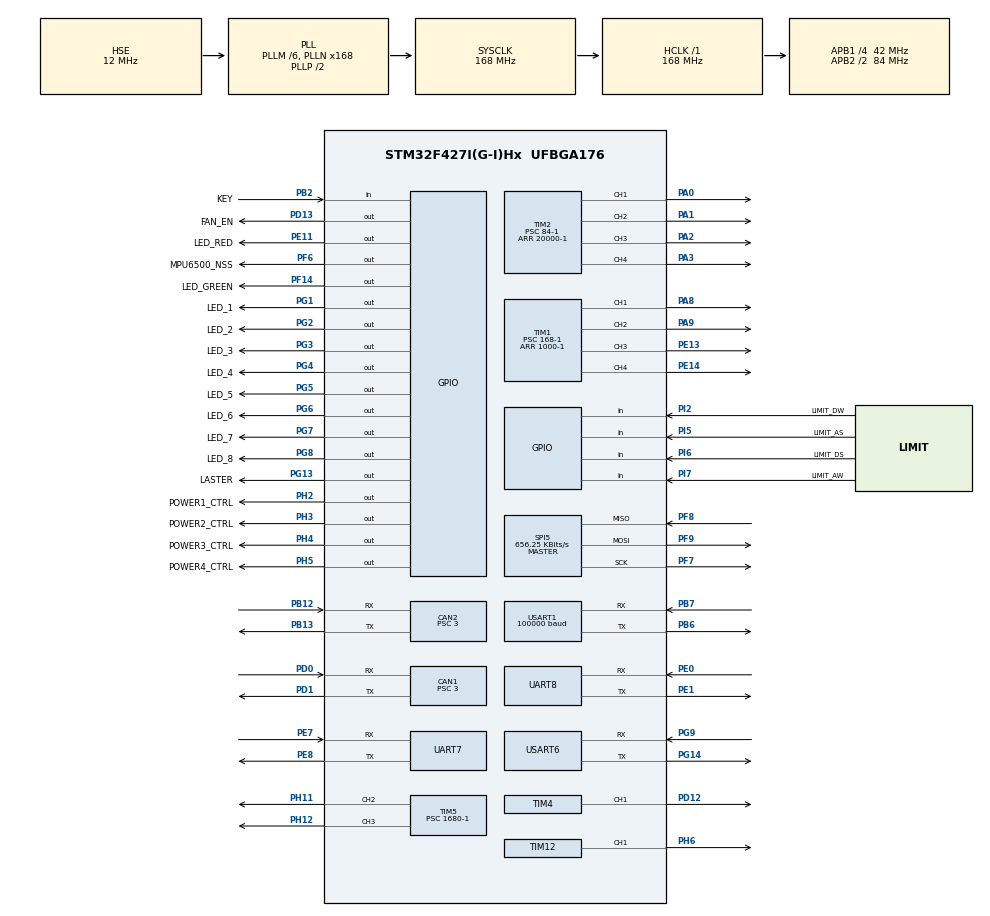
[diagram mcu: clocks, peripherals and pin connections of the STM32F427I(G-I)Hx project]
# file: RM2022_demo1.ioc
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CAN1.ABOM=ENABLE
CAN1.BS1=CAN_BS1_9TQ
CAN1.BS2=CAN_BS2_4TQ
CAN1.CalculateBaudRate=1000000
CAN1.CalculateTimeBit=999.99
CAN1.CalculateTimeQuantum=71.42857142857143
CAN1.Prescaler=3
CAN2.ABOM=ENABLE
CAN2.BS1=CAN_BS1_9TQ
CAN2.BS2=CAN_BS2_4TQ
CAN2.CalculateBaudRate=1000000
CAN2.CalculateTimeBit=999.99
CAN2.CalculateTimeQuantum=71.42857142857143
CAN2.Prescaler=3
Dma.Request0=USART1_RX
Dma.Request1=USART6_RX
Dma.Request2=USART6_TX
Dma.Request3=UART8_RX
Dma.Request4=UART8_TX
Dma.UART8_RX.3.Direction=DMA_PERIPH_TO_MEMORY
Dma.UART8_RX.3.FIFOMode=DMA_FIFOMODE_DISABLE
Dma.UART8_RX.3.Instance=DMA1_Stream6
Dma.UART8_RX.3.MemDataAlignment=DMA_MDATAALIGN_BYTE
Dma.UART8_RX.3.MemInc=DMA_MINC_ENABLE
Dma.UART8_RX.3.Mode=DMA_CIRCULAR
Dma.UART8_RX.3.PeriphDataAlignment=DMA_PDATAALIGN_BYTE
Dma.UART8_RX.3.PeriphInc=DMA_PINC_DISABLE
Dma.UART8_RX.3.Priority=DMA_PRIORITY_MEDIUM
Dma.UART8_TX.4.Direction=DMA_MEMORY_TO_PERIPH
Dma.UART8_TX.4.FIFOMode=DMA_FIFOMODE_DISABLE
Dma.UART8_TX.4.Instance=DMA1_Stream0
Dma.UART8_TX.4.MemDataAlignment=DMA_MDATAALIGN_BYTE
Dma.UART8_TX.4.MemInc=DMA_MINC_ENABLE
Dma.UART8_TX.4.Mode=DMA_NORMAL
Dma.UART8_TX.4.PeriphDataAlignment=DMA_PDATAALIGN_BYTE
Dma.UART8_TX.4.PeriphInc=DMA_PINC_DISABLE
Dma.UART8_TX.4.Priority=DMA_PRIORITY_LOW
Dma.USART1_RX.0.Direction=DMA_PERIPH_TO_MEMORY
Dma.USART1_RX.0.FIFOMode=DMA_FIFOMODE_DISABLE
Dma.USART1_RX.0.Instance=DMA2_Stream5
Dma.USART1_RX.0.MemDataAlignment=DMA_MDATAALIGN_BYTE
Dma.USART1_RX.0.MemInc=DMA_MINC_ENABLE
Dma.USART1_RX.0.Mode=DMA_CIRCULAR
Dma.USART1_RX.0.PeriphDataAlignment=DMA_PDATAALIGN_BYTE
Dma.USART1_RX.0.PeriphInc=DMA_PINC_DISABLE
Dma.USART1_RX.0.Priority=DMA_PRIORITY_VERY_HIGH
Dma.USART6_RX.1.Direction=DMA_PERIPH_TO_MEMORY
Dma.USART6_RX.1.FIFOMode=DMA_FIFOMODE_DISABLE
Dma.USART6_RX.1.Instance=DMA2_Stream1
Dma.USART6_RX.1.MemDataAlignment=DMA_MDATAALIGN_BYTE
Dma.USART6_RX.1.MemInc=DMA_MINC_ENABLE
Dma.USART6_RX.1.Mode=DMA_CIRCULAR
Dma.USART6_RX.1.PeriphDataAlignment=DMA_PDATAALIGN_BYTE
Dma.USART6_RX.1.PeriphInc=DMA_PINC_DISABLE
Dma.USART6_RX.1.Priority=DMA_PRIORITY_LOW
Dma.USART6_TX.2.Direction=DMA_MEMORY_TO_PERIPH
Dma.USART6_TX.2.FIFOMode=DMA_FIFOMODE_DISABLE
Dma.USART6_TX.2.Instance=DMA2_Stream6
Dma.USART6_TX.2.MemDataAlignment=DMA_MDATAALIGN_BYTE
Dma.USART6_TX.2.MemInc=DMA_MINC_ENABLE
Dma.USART6_TX.2.Mode=DMA_NORMAL
Dma.USART6_TX.2.PeriphDataAlignment=DMA_PDATAALIGN_BYTE
Dma.USART6_TX.2.PeriphInc=DMA_PINC_DISABLE
Dma.USART6_TX.2.Priority=DMA_PRIORITY_LOW
Mcu.Family=STM32F4
Mcu.Name=STM32F427I(G-I)Hx
Mcu.Package=UFBGA176
NVIC.CAN1_RX0_IRQn=true\:1\:0\:true\:false\:true\:true\:true
NVIC.CAN1_TX_IRQn=true\:2\:0\:true\:false\:true\:true\:true
NVIC.CAN2_RX0_IRQn=true\:1\:0\:true\:false\:true\:true\:true
NVIC.CAN2_TX_IRQn=true\:3\:0\:true\:false\:true\:true\:true
NVIC.DMA1_Stream0_IRQn=true\:0\:0\:false\:false\:true\:false\:true
NVIC.DMA1_Stream6_IRQn=true\:0\:0\:false\:false\:true\:false\:true
NVIC.DMA2_Stream1_IRQn=true\:0\:0\:false\:false\:true\:false\:true
NVIC.DMA2_Stream5_IRQn=true\:0\:0\:false\:false\:true\:false\:true
NVIC.DMA2_Stream6_IRQn=true\:0\:0\:false\:false\:true\:false\:true
NVIC.PriorityGroup=NVIC_PRIORITYGROUP_4
NVIC.UART7_IRQn=true\:7\:0\:true\:false\:true\:true\:true
NVIC.UART8_IRQn=true\:3\:0\:true\:false\:true\:true\:true
NVIC.USART1_IRQn=true\:0\:0\:false\:false\:true\:true\:true
NVIC.USART6_IRQn=true\:12\:0\:true\:false\:true\:true\:true
PA0/WKUP.Signal=S_TIM2_CH1_ETR
PA1.Signal=S_TIM2_CH2
PA13.Mode=Serial_Wire
PA13.Signal=SYS_JTMS-SWDIO
PA14.Mode=Serial_Wire
PA14.Signal=SYS_JTCK-SWCLK
PA2.Signal=S_TIM2_CH3
PA3.Signal=S_TIM2_CH4
PA8.Signal=S_TIM1_CH1
PA9.Signal=S_TIM1_CH2
PB12.Mode=CAN_Activate
PB12.Signal=CAN2_RX
PB13.Mode=CAN_Activate
PB13.Signal=CAN2_TX
PB2/BOOT1.GPIO_Label=KEY
PB2/BOOT1.GPIO_PuPd=GPIO_PULLDOWN
PB2/BOOT1.Signal=GPIO_Input
PB6.Mode=Asynchronous
PB6.Signal=USART1_TX
PB7.Mode=Asynchronous
PB7.Signal=USART1_RX
PD0.Mode=CAN_Activate
PD0.Signal=CAN1_RX
PD1.Mode=CAN_Activate
PD1.Signal=CAN1_TX
PD12.Signal=S_TIM4_CH1
PD13.GPIO_Label=FAN_EN
PD13.Signal=GPIO_Output
PE0.Mode=Asynchronous
PE0.Signal=UART8_RX
PE1.Mode=Asynchronous
PE1.Signal=UART8_TX
PE11.GPIO_Label=LED_RED
PE11.GPIO_Speed=GPIO_SPEED_FREQ_LOW
PE11.PinState=GPIO_PIN_SET
PE11.Signal=GPIO_Output
PE13.Signal=S_TIM1_CH3
PE14.Signal=S_TIM1_CH4
PE7.Mode=Asynchronous
PE7.Signal=UART7_RX
PE8.Mode=Asynchronous
PE8.Signal=UART7_TX
PF14.GPIO_Label=LED_GREEN
PF14.PinState=GPIO_PIN_SET
PF14.Signal=GPIO_Output
PF6.GPIO_Label=MPU6500_NSS
PF6.GPIO_Speed=GPIO_SPEED_FREQ_VERY_HIGH
PF6.Signal=GPIO_Output
PF7.Mode=Full_Duplex_Master
PF7.Signal=SPI5_SCK
PF8.Mode=Full_Duplex_Master
PF8.Signal=SPI5_MISO
PF9.Mode=Full_Duplex_Master
PF9.Signal=SPI5_MOSI
PG1.GPIO_Label=LED_1
PG1.PinState=GPIO_PIN_SET
PG1.Signal=GPIO_Output
PG13.GPIO_Label=LASTER
PG13.PinState=GPIO_PIN_RESET
PG13.Signal=GPIO_Output
PG14.Mode=Asynchronous
PG14.Signal=USART6_TX
PG2.GPIO_Label=LED_2
PG2.PinState=GPIO_PIN_SET
PG2.Signal=GPIO_Output
PG3.GPIO_Label=LED_3
PG3.PinState=GPIO_PIN_SET
PG3.Signal=GPIO_Output
PG4.GPIO_Label=LED_4
PG4.PinState=GPIO_PIN_SET
PG4.Signal=GPIO_Output
PG5.GPIO_Label=LED_5
PG5.PinState=GPIO_PIN_SET
PG5.Signal=GPIO_Output
PG6.GPIO_Label=LED_6
PG6.PinState=GPIO_PIN_SET
PG6.Signal=GPIO_Output
PG7.GPIO_Label=LED_7
PG7.PinState=GPIO_PIN_SET
PG7.Signal=GPIO_Output
PG8.GPIO_Label=LED_8
PG8.PinState=GPIO_PIN_SET
PG8.Signal=GPIO_Output
PG9.Mode=Asynchronous
PG9.Signal=USART6_RX
PH0/OSC_IN.Mode=HSE-External-Oscillator
PH0/OSC_IN.Signal=RCC_OSC_IN
PH1/OSC_OUT.Mode=HSE-External-Oscillator
PH1/OSC_OUT.Signal=RCC_OSC_OUT
PH11.Signal=S_TIM5_CH2
PH12.Signal=S_TIM5_CH3
PH2.GPIO_Label=POWER1_CTRL
PH2.Signal=GPIO_Output
PH3.GPIO_Label=POWER2_CTRL
PH3.Signal=GPIO_Output
PH4.GPIO_Label=POWER3_CTRL
PH4.Signal=GPIO_Output
PH5.GPIO_Label=POWER4_CTRL
PH5.Signal=GPIO_Output
PH6.Signal=S_TIM12_CH1
PI2.GPIO_Label=LIMIT_DW
PI2.GPIO_PuPd=GPIO_PULLUP
PI2.Signal=GPIO_Input
PI5.GPIO_Label=LIMIT_AS
PI5.GPIO_PuPd=GPIO_PULLUP
PI5.Signal=GPIO_Input
PI6.GPIO_Label=LIMIT_DS
PI6.GPIO_PuPd=GPIO_PULLUP
PI6.Signal=GPIO_Input
PI7.GPIO_Label=LIMIT_AW
PI7.GPIO_PuPd=GPIO_PULLUP
PI7.Signal=GPIO_Input
ProjectManager.HeapSize=0x200
ProjectManager.StackSize=0x400
ProjectManager.TargetToolchain=MDK-ARM V5.32
RCC.48MHZClocksFreq_Value=84000000
RCC.AHBFreq_Value=168000000
RCC.APB1CLKDivider=RCC_HCLK_DIV4
RCC.APB1Freq_Value=42000000
RCC.APB1TimFreq_Value=84000000
RCC.APB2CLKDivider=RCC_HCLK_DIV2
RCC.APB2Freq_Value=84000000
RCC.APB2TimFreq_Value=168000000
RCC.CortexFreq_Value=168000000
RCC.HCLKFreq_Value=168000000
RCC.HSE_VALUE=12000000
RCC.HSI_VALUE=16000000
RCC.LSE_VALUE=32768
RCC.PLLM=6
RCC.PLLN=168
RCC.PLLSourceVirtual=RCC_PLLSOURCE_HSE
RCC.SYSCLKFreq_VALUE=168000000
RCC.SYSCLKSource=RCC_SYSCLKSOURCE_PLLCLK
RCC.VCOOutputFreq_Value=336000000
SH.S_TIM12_CH1.0=TIM12_CH1,PWM Generation1 CH1
SH.S_TIM1_CH1.0=TIM1_CH1,PWM Generation1 CH1
SH.S_TIM1_CH2.0=TIM1_CH2,PWM Generation2 CH2
SH.S_TIM1_CH3.0=TIM1_CH3,PWM Generation3 CH3
SH.S_TIM1_CH4.0=TIM1_CH4,PWM Generation4 CH4
SH.S_TIM2_CH1_ETR.0=TIM2_CH1,PWM Generation1 CH1
SH.S_TIM2_CH2.0=TIM2_CH2,PWM Generation2 CH2
SH.S_TIM2_CH3.0=TIM2_CH3,PWM Generation3 CH3
SH.S_TIM2_CH4.0=TIM2_CH4,PWM Generation4 CH4
SH.S_TIM4_CH1.0=TIM4_CH1,PWM Generation1 CH1
SH.S_TIM5_CH2.0=TIM5_CH2,PWM Generation2 CH2
SH.S_TIM5_CH3.0=TIM5_CH3,PWM Generation3 CH3
SPI5.BaudRatePrescaler=SPI_BAUDRATEPRESCALER_128
SPI5.CRCCalculation=SPI_CRCCALCULATION_ENABLE
SPI5.CalculateBaudRate=656.25 KBits/s
SPI5.Direction=SPI_DIRECTION_2LINES
SPI5.Mode=SPI_MODE_MASTER
SPI5.VirtualType=VM_MASTER
TIM1.AutoReloadPreload=TIM_AUTORELOAD_PRELOAD_ENABLE
TIM1.Channel-PWM\ Generation1\ CH1=TIM_CHANNEL_1
TIM1.Channel-PWM\ Generation2\ CH2=TIM_CHANNEL_2
TIM1.Channel-PWM\ Generation3\ CH3=TIM_CHANNEL_3
TIM1.Channel-PWM\ Generation4\ CH4=TIM_CHANNEL_4
TIM1.OCPolarity_1=TIM_OCPOLARITY_HIGH
TIM1.OCPolarity_2=TIM_OCPOLARITY_HIGH
TIM1.Period=1000-1
TIM1.Prescaler=168-1
TIM12.AutoReloadPreload=TIM_AUTORELOAD_PRELOAD_ENABLE
TIM12.Channel-PWM\ Generation1\ CH1=TIM_CHANNEL_1
TIM12.OCPolarity_1=TIM_OCPOLARITY_LOW
TIM12.Period=370-1
TIM12.Prescaler=168-1
TIM2.AutoReloadPreload=TIM_AUTORELOAD_PRELOAD_ENABLE
TIM2.Channel-PWM\ Generation1\ CH1=TIM_CHANNEL_1
TIM2.Channel-PWM\ Generation2\ CH2=TIM_CHANNEL_2
TIM2.Channel-PWM\ Generation3\ CH3=TIM_CHANNEL_3
TIM2.Channel-PWM\ Generation4\ CH4=TIM_CHANNEL_4
TIM2.Period=20000-1
TIM2.Prescaler=84-1
TIM4.AutoReloadPreload=TIM_AUTORELOAD_PRELOAD_ENABLE
TIM4.Channel-PWM\ Generation1\ CH1=TIM_CHANNEL_1
TIM4.Period=1000-1
TIM4.Prescaler=84-1
TIM4.Pulse-PWM\ Generation1\ CH1=100
TIM5.AutoReloadPreload=TIM_AUTORELOAD_PRELOAD_ENABLE
TIM5.Channel-PWM\ Generation2\ CH2=TIM_CHANNEL_2
TIM5.Channel-PWM\ Generation3\ CH3=TIM_CHANNEL_3
TIM5.Period=1000-1
TIM5.Prescaler=1680-1
UART7.VirtualMode=Asynchronous
UART8.VirtualMode=Asynchronous
USART1.BaudRate=100000
USART1.Mode=MODE_TX_RX
USART1.Parity=PARITY_EVEN
USART1.VirtualMode=VM_ASYNC
USART1.WordLength=WORDLENGTH_9B
USART6.VirtualMode=VM_ASYNC
VP_TIM12_VS_ClockSourceINT.Mode=Internal
VP_TIM1_VS_ClockSourceINT.Mode=Internal
VP_TIM2_VS_ClockSourceINT.Mode=Internal
VP_TIM5_VS_ClockSourceINT.Mode=Internal
board=custom

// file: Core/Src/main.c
/* USER CODE BEGIN Header */
/**
  ******************************************************************************
  * @file           : main.c
  * @brief          : Main program body
  ******************************************************************************
  * @attention
  *
  * <h2><center>&copy; Copyright (c) 2022 STMicroelectronics.
  * All rights reserved.</center></h2>
  *
  * This software component is licensed by ST under BSD 3-Clause license,
  * the "License"; You may not use this file except in compliance with the
  * License. You may obtain a copy of the License at:
  *                        opensource.org/licenses/BSD-3-Clause
  *
  ******************************************************************************
	已经完成板载所有led移植，串口按需要移植
	printf已经重映射到串口7

	注意BUG！DMA初始化一定要放到UART初始化前面
  */
/* USER CODE END Header */
#include "main.h"
#include "can.h"
#include "dma.h"
#include "spi.h"
#include "tim.h"
#include "usart.h"
#include "gpio.h"

/* USER CODE BEGIN Includes */
#include "MyConfig.h"						//包含所有可配置的东东！

#include "myUART.h"
#include "superCap.h"
#include "led.h"
#include "key.h"
#include "DR16.h"
#include "myMPU6500.h"
#include "buzzer.h"
#include "IMU.h"
#include "bsp_can.h"
#include "motor.h"
#include "power.h"
#include "VisionUART.h"
#include "PYchassis.h"
#include "MyPWM.h"
#include "PYlift.h"
#include "CPXT.h"

#include "PY_2022DianSai.h"
#include "HYQY_RECV.h"
/* USER CODE END Includes */

void SystemClock_Config(void);

/* USER CODE BEGIN 0 */
double angle_Temp = 0;
uint8_t angle_Temp_IS_OK = 0;
int16_t tempAngle = 0;
/* USER CODE END 0 */

int main(void)
{

  /* MCU Configuration--------------------------------------------------------*/

  /* Reset of all peripherals, Initializes the Flash interface and the Systick. */
  HAL_Init();

  /* Configure the system clock */
  SystemClock_Config();

  /* Initialize all configured peripherals */
  MX_GPIO_Init();
  MX_UART7_Init();
  MX_UART8_Init();
  MX_DMA_Init();
  MX_USART1_UART_Init();
  MX_USART6_UART_Init();
  MX_SPI5_Init();
  MX_TIM12_Init();
  MX_CAN1_Init();
  MX_CAN2_Init();
  MX_TIM1_Init();
  MX_TIM5_Init();
  MX_TIM2_Init();
  MX_TIM4_Init();
  /* USER CODE BEGIN 2 */
	DianSai2022_Init();
//	My_UART_Init();					//串口接收初始化，包括裁判系统接收
//	printf("test printf %d\n",666);
//	DR16_Init();						//初始化遥控器接收机
	//MPU6500_Init();				//初始化MPU
	//IMU_Init();	        	//初始化滤波器
//	buzzer_Init();					//初始化蜂鸣器
	//buzzerOn(50);					//测试蜂鸣器
	//myCanInit_ALL();				//配置底层can相关功能，包括收发
//	MOTOR_Init();						//初始化电机PID相关参数

	//power_on_24v_ALL();			//依次上电
	//power_on_24v(3);
	//power_on_24v(1);
	//MyPWM_Init();
	//TIM2->CCR1 = 500;
	//while(1);

//	PY_Lift_Init();
  /* USER CODE END 2 */

  /* Infinite loop */
  /* USER CODE BEGIN WHILE */

	angle_Temp += 10;
	SetLiftMotorByPID_Angle(angle_Temp,0,0,0);

  while (1)
  {
		Dian2022Ctrl_Handle();
//		if(remote_control.switch_right == Switch_Middle)
//		{
//			SetLiftMotorByPID_Angle(180,180,0,0);
//			//LiftMotor[0].PID_speed.target = 500;
//			//SetLeftMotorRAW(2000,0,0,0);
//		}
//		else
//		{
//			SetLiftMotorByPID_Angle(0,0,0,0);
//			//SetLeftMotorRAW(0,0,0,0);
//			LiftMotor[0].PID_speed.target = 0;
//		}
		//LiftMOTOR_PID_Control_Angle();
		//printf("RM:%.2f,%.2f,%.2f,%.2f,%.2f\n",LiftMotor[0].PID_speed.err,LiftMotor[0].PID_speed.pout,LiftMotor[0].PID_speed.iout,LiftMotor[0].PID_position.measure,LiftMotor[0].PID_position.pout);
		//tempAngle = remote_control.ch2/660.0 * 180.0;
		//printf("ang:%f\n", PY_2022.leftAng);

		//SetMotorByPID_Speed(remote_control.ch2*20,-remote_control.ch2*20);

		//turnServoCtrl(remote_control.ch3/660.0 * 60.0);
		//printf("ang:%.2f\n", remote_control.ch3/660.0 * 90.0);

		//测试不定长收发
//		if(IsReceiveDataOK(&HYQY_recvInfo[0]))
//            ShowDecodeResult(&HYQY_recvInfo[0]);

//		printf("%d, %d, %d\n", HYQY_recvInfo[0].recvRes[0],HYQY_recvInfo[0].recvRes[1], HYQY_recvInfo[0].recvRes[2]);
		HAL_Delay(5);
    /* USER CODE END WHILE */

  }
}

void SystemClock_Config(void)
{
  RCC_OscInitTypeDef RCC_OscInitStruct = {0};
  RCC_ClkInitTypeDef RCC_ClkInitStruct = {0};

  /** Configure the main internal regulator output voltage
  */
  __HAL_RCC_PWR_CLK_ENABLE();
  __HAL_PWR_VOLTAGESCALING_CONFIG(PWR_REGULATOR_VOLTAGE_SCALE1);
  /** Initializes the RCC Oscillators according to the specified parameters
  * in the RCC_OscInitTypeDef structure.
  */
  RCC_OscInitStruct.OscillatorType = RCC_OSCILLATORTYPE_HSE;
  RCC_OscInitStruct.HSEState = RCC_HSE_ON;
  RCC_OscInitStruct.PLL.PLLState = RCC_PLL_ON;
  RCC_OscInitStruct.PLL.PLLSource = RCC_PLLSOURCE_HSE;
  RCC_OscInitStruct.PLL.PLLM = 6;
  RCC_OscInitStruct.PLL.PLLN = 168;
  RCC_OscInitStruct.PLL.PLLP = RCC_PLLP_DIV2;
  RCC_OscInitStruct.PLL.PLLQ = 4;
  if (HAL_RCC_OscConfig(&RCC_OscInitStruct) != HAL_OK)
  {
    Error_Handler();
  }
  /** Initializes the CPU, AHB and APB buses clocks
  */
  RCC_ClkInitStruct.ClockType = RCC_CLOCKTYPE_HCLK|RCC_CLOCKTYPE_SYSCLK
                              |RCC_CLOCKTYPE_PCLK1|RCC_CLOCKTYPE_PCLK2;
  RCC_ClkInitStruct.SYSCLKSource = RCC_SYSCLKSOURCE_PLLCLK;
  RCC_ClkInitStruct.AHBCLKDivider = RCC_SYSCLK_DIV1;
  RCC_ClkInitStruct.APB1CLKDivider = RCC_HCLK_DIV4;
  RCC_ClkInitStruct.APB2CLKDivider = RCC_HCLK_DIV2;

  if (HAL_RCC_ClockConfig(&RCC_ClkInitStruct, FLASH_LATENCY_5) != HAL_OK)
  {
    Error_Handler();
  }
}

void Error_Handler(void)
{
  __disable_irq();
  while (1)
  {
  }
}

#ifdef  USE_FULL_ASSERT
/**
  * @brief  Reports the name of the source file and the source line number
  *         where the assert_param error has occurred.
  * @param  file: pointer to the source file name
  * @param  line: assert_param error line source number
  * @retval None
  */
void assert_failed(uint8_t *file, uint32_t line)
{
  /* USER CODE BEGIN 6 */
	printf("error !!!\nfile:");
	printf(file);
	printf("\nline:%d\n",line);
  /* User can add his own implementation to report the file name and line number,
     ex: printf("Wrong parameters value: file %s on line %d\r\n", file, line) */
  /* USER CODE END 6 */
}
#endif /* USE_FULL_ASSERT */

/************************ (C) COPYRIGHT STMicroelectronics *****END OF FILE****/
